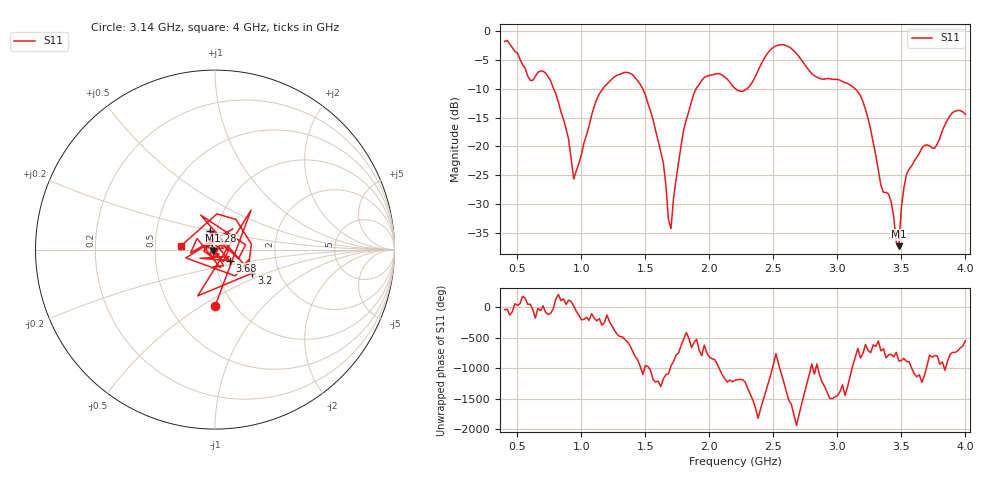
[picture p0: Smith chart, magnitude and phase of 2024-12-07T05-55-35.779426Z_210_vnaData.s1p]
!Created with skrf (http://scikit-rf.org).
# Hz S RI R 50.0
!freq ReS11 ImS11
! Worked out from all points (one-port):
!   181 points, 400 MHz to 4 GHz, reference 50 ohm
!   lowest |S11| = -37.3 dB at 3.48 GHz (marker M1), VSWR 1.03, Z = 48.7 - j0.494 ohm
!   |S11| at or under -10 dB: 782.9 MHz to 1.168 GHz (385.1 MHz wide, 39.5 % of centre); 1.48 GHz to 1.896 GHz (416.2 MHz wide, 24.7 % of centre); 3.138 GHz to end of sweep (the widest 3 of 4)
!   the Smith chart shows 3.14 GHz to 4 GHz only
!   S11 on the Smith chart (normalised r, x): 3.14 GHz: 0.82, -0.57; 3.2 GHz: 1.45, -0.41; 3.28 GHz: 0.92, +0.19; 3.68 GHz: 1.17, -0.14; 4 GHz: 0.68, +0.03
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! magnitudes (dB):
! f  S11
! 400 MHz  -1.8
! 600 MHz  -8.5
! 720 MHz  -7.3
! 860 MHz  -15.3
! 940 MHz  -25.7
! 1.12 GHz  -11.8
! 1.3 GHz  -7.5
! 1.5 GHz  -11.1
! 1.64 GHz  -22.9
! 1.7 GHz  -34.3
! 1.76 GHz  -22.6
! 1.86 GHz  -12.2
! 1.94 GHz  -8.6
! 2.2 GHz  -9.9
! 2.3 GHz  -9.9
! 2.5 GHz  -2.8
! 2.66 GHz  -3.4
! 3.1 GHz  -9.4
! 3.14 GHz  -10.0
! 3.2 GHz  -12.3
! 3.28 GHz  -19.4
! 3.34 GHz  -26.7
! 3.42 GHz  -29.6
! 3.48 GHz  -37.3
! 3.52 GHz  -27.2
! 3.56 GHz  -24.0
! 3.68 GHz  -19.8
! 4 GHz  -14.4
